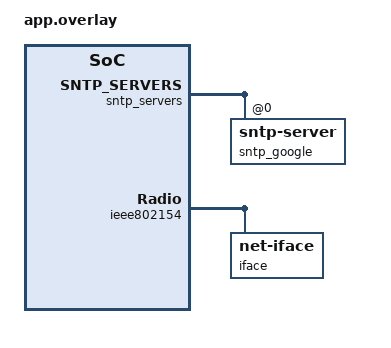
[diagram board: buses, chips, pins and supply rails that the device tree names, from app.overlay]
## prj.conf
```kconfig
# Generic networking options
CONFIG_NETWORKING=y
CONFIG_NET_UDP=y
CONFIG_NET_TCP=y
CONFIG_NET_IPV6=y
CONFIG_NET_IPV4=y
CONFIG_NET_SOCKETS=y
CONFIG_POSIX_API=y
CONFIG_NET_CONNECTION_MANAGER=y
CONFIG_NET_CONFIG_SETTINGS=y

# Kernel options
CONFIG_MAIN_STACK_SIZE=2048
CONFIG_ENTROPY_GENERATOR=y
CONFIG_TEST_RANDOM_GENERATOR=y
CONFIG_INIT_STACKS=y

# Logging
CONFIG_NET_LOG=y
CONFIG_LOG=y
CONFIG_NET_STATISTICS=y
CONFIG_PRINTK=y

# Network buffers
CONFIG_NET_PKT_RX_COUNT=16
CONFIG_NET_PKT_TX_COUNT=16
CONFIG_NET_BUF_RX_COUNT=64
CONFIG_NET_BUF_TX_COUNT=64
CONFIG_NET_CONTEXT_NET_PKT_POOL=y

# IP address options
CONFIG_NET_IF_UNICAST_IPV6_ADDR_COUNT=3
CONFIG_NET_IF_MCAST_IPV6_ADDR_COUNT=4
CONFIG_NET_MAX_CONTEXTS=10

# Network shell
CONFIG_NET_SHELL=y
CONFIG_SHELL=y

# Number of socket descriptors might need adjusting
# if there are more than 1 handlers defined.
CONFIG_ZVFS_OPEN_MAX=12

# How many client can connect to echo-server simultaneously
CONFIG_NET_SAMPLE_NUM_HANDLERS=1
```

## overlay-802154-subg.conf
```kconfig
CONFIG_BT=n

# Disable IPv4
CONFIG_NET_IPV4=n

CONFIG_NET_L2_IEEE802154=y
CONFIG_NET_L2_IEEE802154_SHELL=y
CONFIG_NET_L2_IEEE802154_LOG_LEVEL_INF=y
```

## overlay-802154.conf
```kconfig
CONFIG_BT=n

# Disable TCP and IPv4 (TCP disabled to avoid heavy traffic)
CONFIG_NET_TCP=n
CONFIG_NET_IPV4=n

CONFIG_NET_L2_IEEE802154=y
CONFIG_NET_L2_IEEE802154_SHELL=y
CONFIG_NET_L2_IEEE802154_LOG_LEVEL_INF=y

CONFIG_SYSTEM_WORKQUEUE_STACK_SIZE=2048
```

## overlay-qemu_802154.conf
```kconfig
CONFIG_BT=n

# Disable TCP and IPv4 (TCP disabled to avoid heavy traffic)
CONFIG_NET_TCP=n
CONFIG_NET_IPV4=n

# Disabling Ethernet
CONFIG_NET_SLIP_TAP=n
# Enable UART PIPE 802.15.4 driver
CONFIG_IEEE802154_UPIPE=y

CONFIG_NET_L2_IEEE802154=y
CONFIG_NET_L2_IEEE802154_SHELL=y
CONFIG_NET_L2_IEEE802154_LOG_LEVEL_INF=y
```

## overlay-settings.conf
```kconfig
CONFIG_SETTINGS=y
CONFIG_SETTINGS_NVS=y
CONFIG_FLASH=y
CONFIG_FLASH_MAP=y
CONFIG_NVS=y

CONFIG_SETTINGS_SHELL=y

CONFIG_FLASH_SIMULATOR_PROVISION=y
```

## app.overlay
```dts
/* SPDX-License-Identifier: Apache-2.0 */

/*
 * Sample network subsystem configuration.
 *
 * TODO: Convert to YAML.
 */

#include <subsys/net/lib/sntp.dtsi>
#include <zephyr/dt-bindings/subsys/net/if_flags.h>

&sntp_servers {
	sntp_google: sntp-server@0 {
		reg = <0>;
		server-name = "time.google.com";
		timeout = <30>;
	};
};

&ieee802154 {
	/* I propose that for bindings (not driver selection), compatibles
	 * can be composed. Our current approach only allows for
	 * inheritance. IMO this is not good design practice. We should use
	 * composition instead where applicable.
	 *
	 * If the selected driver does not support one of the properties
	 * it will be ignored (same as today).
	 *
	 * This example shows that both, inheritance and composition, have
	 * legitimate applications:
	 *  - We compose driver configuration properties (potentially even
	 *    vendor specific) with generic IEEE 802.15.4 L2 properties.
	 *  - We let the native IEEE 802.15.4 L2 schema inherit from a
	 *    generic IEEE 802.15.4 L2 schema which will be shared by all
	 *    IEEE 802.15.4 L2 stacks.
	 *
	 * We could (optionally) introduce an additive syntax for DT
	 * <stringlist> properties, e.g.: compatible = "... {} ..."; for
	 * improved encapsulation where {} will be replaced with the list
	 * defined further up in the overlay hierarchy. But IMO it's fine if
	 * applications live with this slight redundancy as it won't matter
	 * much in practice.
	 *
	 * Note: zephyr,net-l2-ieee802154-native inherits from
	 * zephyr,net-l2-ieee802154
	 */
	compatible = "zephyr,ieee802154-uart-pipe", "zephyr,net-l2-ieee802154-native";

	pan-id = <0xabcd>; /* CPU encoding */
	ext-addr = [c2 a3 9e 00 00 4b 12 00]; /* big endian */
	default-channel = <26>;
	/* Uncomment for 868 MHz: default-channel = <0>; */
	/* Uncomment for 906 MHz: default-channel = <1>; */
	default-tx-pwr = <1>;
	/* security key: 16 bytes (deprecated) */
	sec-key = [c0 c1 c2 c3 c4 c5 c6 c7 c8 c9 ca cb cc cd ce cf];
	sec-key-mode = <0>;
	sec-level = <1>;
	no-ack;

	/* Binds to a network peripheral which again determines
	 * a driver instance. When a peripheral (and its driver
	 * instance) exposes several interfaces, then we'll have
	 * to specify a <prop-encoded-array> which will determine
	 * the specific interface instance to bind to, e.g. in case
	 * a WiFi device exposes both, station and access point,
	 * interfaces we could refer to them by iface@0 and iface@1
	 * respectively or any other addressing scheme that makes
	 * sense for the given peripheral and conforms to the DT
	 * spec.
	 */
	iface {
		compatible = "zephyr,net-iface";

		/* TODO: For virtual interfaces (vlan, bridge, tunnel, etc.):
		 * compatible = "zephyr,net-iface", "zephyr,net-iface-virtual";
		 * identify-by-iface-name = "";
		 * identify-by-device-name = "";
		 * bind-to = <&physical_interface>; or
		 * alternatively placed inside the physical iface node.
		 */

		set-iface-name = "eth0";
		is-default;
		clear-flags = <(NET_IF_NO_AUTO_START|NET_IF_POINTOPOINT)>;

		ipv6 {
			compatible = "zephyr,net-ipv6";
			status = "okay"; /* Just for demonstration, this is the default. */

			addrs = "2001:db8:110::1";
			hop-limit = <64>;

			mcast-addrs = "ff05::114", "ff15::115";
			mcast-hop-limit = <1>;

			prefixes {
				compatible = "zephyr,net-ipv6-prefixes";
				#address-cells = <1>;
				#size-cells = <0>;

				prefix@0 {
					reg = <0>;
					addr = "2001:db8::";
					len = <64>;
					lifetime = <1024>;
				};
			};

			dhcp-client {
				compatible = "zephyr,net-ipv6-dhcp-client";
				req-addr;
				/* req-prefix - disabled */
			};
		};

		ipv4 {
			compatible = "zephyr,net-ipv4";
			status = "disabled"; /* Properties in this node will be ignored and
					      * do not consume resources on the target.
					      */

			addrs = "192.0.2.10/24";
			mcast-addrs = "234.0.0.10";
			gateway = "192.0.2.1";
			ttl = <64>;
			mcast-ttl = <1>;
			/* autoconf - disabled */

			dhcp-client { /* currently no props, still a node for forward compat */
				compatible = "zephyr,net-ipv4-dhcp-client";
				status = "okay";
			};

			dhcp-server { /* currently no props, still a node for forward compat */
				compatible = "zephyr,net-ipv4-dhcp-server";
				base-addr = "192.168.1.100";
			};
		};

		vlan {
			/* TODO: requires "zephyr,net-iface-virtual compat above" */
			compatible = "zephyr,net-vlan";

			tag = <100>;
		};

		sntp-server = < &sntp_google >;
	};
};
```

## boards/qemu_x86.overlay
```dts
&ieee802154 {
	compatible = "zephyr,ieee802154-uart-pipe";
};
```

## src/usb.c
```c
/*
 * Copyright (c) 2021 TiaC Systems
 *
 * SPDX-License-Identifier: Apache-2.0
 */

#include <zephyr/logging/log.h>
LOG_MODULE_DECLARE(net_echo_server_sample, LOG_LEVEL_DBG);

#include <zephyr/usb/usb_device.h>
#include <zephyr/net/net_config.h>

#if defined(CONFIG_USB_DEVICE_STACK_NEXT)
#include <sample_usbd.h>

static struct usbd_context *sample_usbd;

static int enable_usb_device_next(void)
{
	int err;

	sample_usbd = sample_usbd_init_device(NULL);
	if (sample_usbd == NULL) {
		return -ENODEV;
	}

	err = usbd_enable(sample_usbd);
	if (err) {
		return err;
	}

	return 0;
}
#endif /* CONFIG_USB_DEVICE_STACK_NEXT */

int init_usb(void)
{
#if defined(CONFIG_USB_DEVICE_STACK)
	int ret;

	ret = usb_enable(NULL);
	if (ret != 0) {
		LOG_ERR("Cannot enable USB (%d)", ret);
		return ret;
	}
#endif /* CONFIG_USB_DEVICE_STACK */

#if defined(CONFIG_USB_DEVICE_STACK_NEXT)
	if (enable_usb_device_next()) {
		return 0;
	}
#endif /* CONFIG_USB_DEVICE_STACK_NEXT */

	(void)net_config_init_all("Initializing network", 0);

	return 0;
}
```
